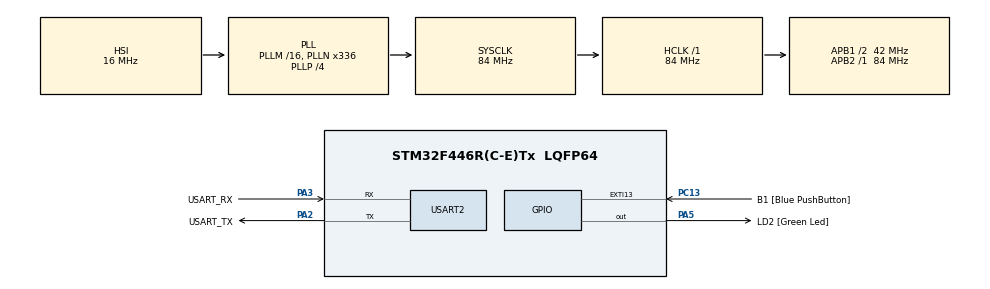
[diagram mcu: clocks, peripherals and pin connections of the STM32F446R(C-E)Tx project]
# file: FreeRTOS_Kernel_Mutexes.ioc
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Mcu.Family=STM32F4
Mcu.Name=STM32F446R(C-E)Tx
Mcu.Package=LQFP64
NVIC.PriorityGroup=NVIC_PRIORITYGROUP_4
NVIC.TIM6_DAC_IRQn=true\:0\:0\:false\:false\:true\:false\:true\:true
NVIC.TimeBase=TIM6_DAC_IRQn
NVIC.TimeBaseIP=TIM6
PA13.GPIO_Label=TMS
PA13.Mode=Serial_Wire
PA13.Signal=SYS_JTMS-SWDIO
PA14.GPIO_Label=TCK
PA14.Mode=Serial_Wire
PA14.Signal=SYS_JTCK-SWCLK
PA2.GPIO_Label=USART_TX
PA2.Mode=Asynchronous
PA2.Signal=USART2_TX
PA3.GPIO_Label=USART_RX
PA3.Mode=Asynchronous
PA3.Signal=USART2_RX
PA5.GPIO_Label=LD2 [Green Led]
PA5.Signal=GPIO_Output
PB3.GPIO_Label=SWO
PB3.Signal=SYS_JTDO-SWO
PC13.GPIO_Label=B1 [Blue PushButton]
PC13.GPIO_ModeDefaultEXTI=GPIO_MODE_IT_FALLING
PC13.Signal=GPXTI13
PC14-OSC32_IN.Mode=LSE-External-Oscillator
PC14-OSC32_IN.Signal=RCC_OSC32_IN
PC15-OSC32_OUT.Mode=LSE-External-Oscillator
PC15-OSC32_OUT.Signal=RCC_OSC32_OUT
PH0-OSC_IN.Mode=HSE-External-Oscillator
PH0-OSC_IN.Signal=RCC_OSC_IN
PH1-OSC_OUT.Mode=HSE-External-Oscillator
PH1-OSC_OUT.Signal=RCC_OSC_OUT
ProjectManager.HeapSize=0x200
ProjectManager.StackSize=0x400
ProjectManager.TargetToolchain=STM32CubeIDE
RCC.48MHZClocksFreq_Value=84000000
RCC.AHBFreq_Value=84000000
RCC.APB1CLKDivider=RCC_HCLK_DIV2
RCC.APB1Freq_Value=42000000
RCC.APB1TimFreq_Value=84000000
RCC.APB2Freq_Value=84000000
RCC.APB2TimFreq_Value=84000000
RCC.CortexFreq_Value=84000000
RCC.FLatency-AdvancedSettings=FLASH_LATENCY_2
RCC.HCLKFreq_Value=84000000
RCC.HSE_VALUE=8000000
RCC.HSI_VALUE=16000000
RCC.PLLN=336
RCC.PLLP=RCC_PLLP_DIV4
RCC.SYSCLKFreq_VALUE=84000000
RCC.SYSCLKSource=RCC_SYSCLKSOURCE_PLLCLK
RCC.USBFreq_Value=168000000
RCC.VCOOutputFreq_Value=336000000
USART2.VirtualMode=VM_ASYNC
VP_SYS_VS_tim6.Mode=TIM6
board=NUCLEO-F446RE

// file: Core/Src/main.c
/* USER CODE BEGIN Header */
/**
  ******************************************************************************
  * @file           : main.c
  * @brief          : Main program body
  ******************************************************************************
  * @attention
  *
  * Copyright (c) 2025 STMicroelectronics.
  * All rights reserved.
  *
  * This software is licensed under terms that can be found in the LICENSE file
  * in the root directory of this software component.
  * If no LICENSE file comes with this software, it is provided AS-IS.
  *
  ******************************************************************************
  */
/* USER CODE END Header */
#include "main.h"

/* USER CODE BEGIN Includes */
#include "FreeRTOS.h"
#include "task.h"
#include "semphr.h"
#include <string.h>

/* USER CODE END Includes */

UART_HandleTypeDef huart2;

/* USER CODE BEGIN PV */

SemaphoreHandle_t uartMutex;  // Mutex handle

/* USER CODE END PV */

void SystemClock_Config(void);
static void MX_GPIO_Init(void);
static void MX_USART2_UART_Init(void);
/* USER CODE BEGIN PFP */
void Task1(void *pvParameters);
void Task2(void *pvParameters);
/* USER CODE END PFP */

int main(void)
{

  /* MCU Configuration--------------------------------------------------------*/

  /* Reset of all peripherals, Initializes the Flash interface and the Systick. */
  HAL_Init();

  /* Configure the system clock */
  SystemClock_Config();

  /* Initialize all configured peripherals */
  MX_GPIO_Init();
  MX_USART2_UART_Init();
  /* USER CODE BEGIN 2 */
  // Create Mutex
  uartMutex = xSemaphoreCreateMutex();
  configASSERT(uartMutex != NULL);

  // Create Tasks
  xTaskCreate(Task1, "Task1", 256, NULL, 2, NULL);
  xTaskCreate(Task2, "Task2", 256, NULL, 2, NULL);

  // Start Scheduler
  vTaskStartScheduler();
  /* USER CODE END 2 */

  /* Infinite loop */
  while (1)
  {

  }
}

void SystemClock_Config(void)
{
  RCC_OscInitTypeDef RCC_OscInitStruct = {0};
  RCC_ClkInitTypeDef RCC_ClkInitStruct = {0};

  /** Configure the main internal regulator output voltage
  */
  __HAL_RCC_PWR_CLK_ENABLE();
  __HAL_PWR_VOLTAGESCALING_CONFIG(PWR_REGULATOR_VOLTAGE_SCALE3);

  /** Initializes the RCC Oscillators according to the specified parameters
  * in the RCC_OscInitTypeDef structure.
  */
  RCC_OscInitStruct.OscillatorType = RCC_OSCILLATORTYPE_HSI;
  RCC_OscInitStruct.HSIState = RCC_HSI_ON;
  RCC_OscInitStruct.HSICalibrationValue = RCC_HSICALIBRATION_DEFAULT;
  RCC_OscInitStruct.PLL.PLLState = RCC_PLL_ON;
  RCC_OscInitStruct.PLL.PLLSource = RCC_PLLSOURCE_HSI;
  RCC_OscInitStruct.PLL.PLLM = 16;
  RCC_OscInitStruct.PLL.PLLN = 336;
  RCC_OscInitStruct.PLL.PLLP = RCC_PLLP_DIV4;
  RCC_OscInitStruct.PLL.PLLQ = 2;
  RCC_OscInitStruct.PLL.PLLR = 2;
  if (HAL_RCC_OscConfig(&RCC_OscInitStruct) != HAL_OK)
  {
    Error_Handler();
  }

  /** Initializes the CPU, AHB and APB buses clocks
  */
  RCC_ClkInitStruct.ClockType = RCC_CLOCKTYPE_HCLK|RCC_CLOCKTYPE_SYSCLK
                              |RCC_CLOCKTYPE_PCLK1|RCC_CLOCKTYPE_PCLK2;
  RCC_ClkInitStruct.SYSCLKSource = RCC_SYSCLKSOURCE_PLLCLK;
  RCC_ClkInitStruct.AHBCLKDivider = RCC_SYSCLK_DIV1;
  RCC_ClkInitStruct.APB1CLKDivider = RCC_HCLK_DIV2;
  RCC_ClkInitStruct.APB2CLKDivider = RCC_HCLK_DIV1;

  if (HAL_RCC_ClockConfig(&RCC_ClkInitStruct, FLASH_LATENCY_2) != HAL_OK)
  {
    Error_Handler();
  }
}

static void MX_USART2_UART_Init(void)
{

  huart2.Instance = USART2;
  huart2.Init.BaudRate = 115200;
  huart2.Init.WordLength = UART_WORDLENGTH_8B;
  huart2.Init.StopBits = UART_STOPBITS_1;
  huart2.Init.Parity = UART_PARITY_NONE;
  huart2.Init.Mode = UART_MODE_TX_RX;
  huart2.Init.HwFlowCtl = UART_HWCONTROL_NONE;
  huart2.Init.OverSampling = UART_OVERSAMPLING_16;
  if (HAL_UART_Init(&huart2) != HAL_OK)
  {
    Error_Handler();
  }

}

static void MX_GPIO_Init(void)
{
  GPIO_InitTypeDef GPIO_InitStruct = {0};

  /* GPIO Ports Clock Enable */
  __HAL_RCC_GPIOC_CLK_ENABLE();
  __HAL_RCC_GPIOH_CLK_ENABLE();
  __HAL_RCC_GPIOA_CLK_ENABLE();
  __HAL_RCC_GPIOB_CLK_ENABLE();

  /*Configure GPIO pin Output Level */
  HAL_GPIO_WritePin(LD2_GPIO_Port, LD2_Pin, GPIO_PIN_RESET);

  /*Configure GPIO pin : B1_Pin */
  GPIO_InitStruct.Pin = B1_Pin;
  GPIO_InitStruct.Mode = GPIO_MODE_IT_FALLING;
  GPIO_InitStruct.Pull = GPIO_NOPULL;
  HAL_GPIO_Init(B1_GPIO_Port, &GPIO_InitStruct);

  /*Configure GPIO pin : LD2_Pin */
  GPIO_InitStruct.Pin = LD2_Pin;
  GPIO_InitStruct.Mode = GPIO_MODE_OUTPUT_PP;
  GPIO_InitStruct.Pull = GPIO_NOPULL;
  GPIO_InitStruct.Speed = GPIO_SPEED_FREQ_LOW;
  HAL_GPIO_Init(LD2_GPIO_Port, &GPIO_InitStruct);

}

/* USER CODE BEGIN 4 */
void Task1(void *pvParameters)
{
    char msg[] = "Task 1 is writing...\r\n";

    for (;;)
    {
        if (xSemaphoreTake(uartMutex, portMAX_DELAY) == pdTRUE)
        {
            HAL_UART_Transmit(&huart2, (uint8_t *)msg, strlen(msg), HAL_MAX_DELAY);
            xSemaphoreGive(uartMutex);
        }
        vTaskDelay(pdMS_TO_TICKS(500));  // Delay 500ms
    }
}

void Task2(void *pvParameters)
{
    char msg[] = "Task 2 is writing...\r\n";

    for (;;)
    {
        if (xSemaphoreTake(uartMutex, portMAX_DELAY) == pdTRUE)
        {
            HAL_UART_Transmit(&huart2, (uint8_t *)msg, strlen(msg), HAL_MAX_DELAY);
            xSemaphoreGive(uartMutex);
        }
        vTaskDelay(pdMS_TO_TICKS(700));  // Delay 700ms
    }
}
/* USER CODE END 4 */

void HAL_TIM_PeriodElapsedCallback(TIM_HandleTypeDef *htim)
{
  if (htim->Instance == TIM6) {
    HAL_IncTick();
  }
}

void Error_Handler(void)
{
  __disable_irq();
  while (1)
  {
  }
}
